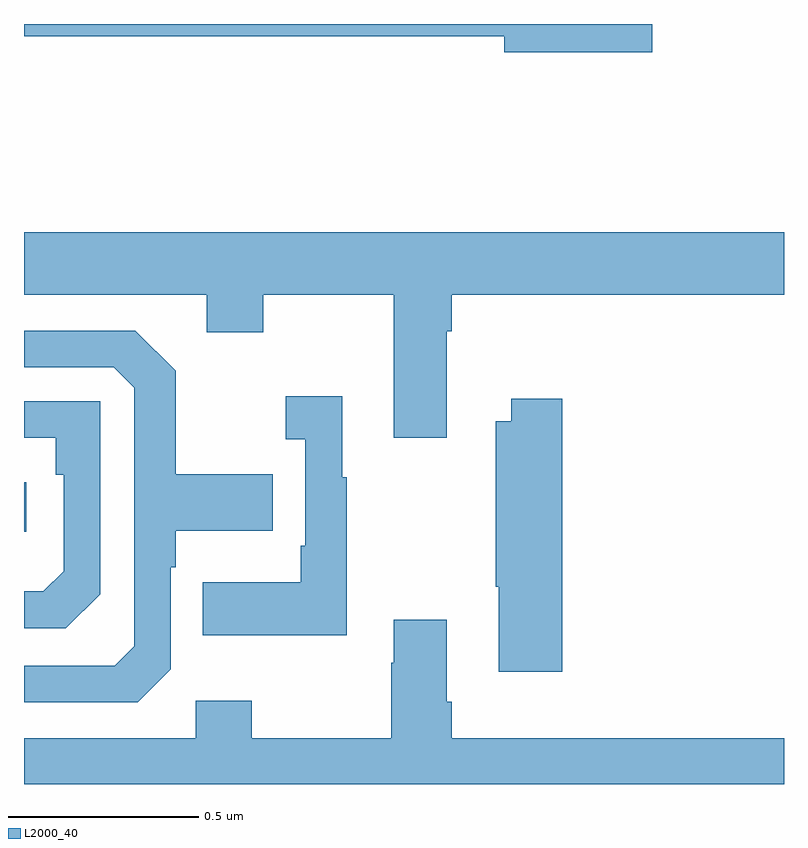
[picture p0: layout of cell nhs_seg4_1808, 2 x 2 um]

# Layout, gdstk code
import gdstk
lib = gdstk.Library(unit=1e-6, precision=1e-09)
def R(c, l, rs):  # rectangles x0, y0, x1, y1
    for r in rs: c.add(gdstk.rectangle(r[:2], r[2:], *l))
def P(c, l, *ps):  # polygons
    for p in ps: c.add(gdstk.Polygon(p, *l))
L2000_40 = (2000, 40)

nhs_seg4_1808 = lib.new_cell('nhs_seg4_1808')
R(nhs_seg4_1808, L2000_40, [(133,761.564,133.006,761.694)])
P(nhs_seg4_1808, L2000_40, [(134.653,762.9),(133,762.9),(133,762.868),(134.264,762.868),(134.264,762.826),(134.653,762.826)],
  [(134.113,762.092),(134.126,762.092),(134.126,762.188),(135,762.188),(135,762.352),(133,762.352),(133,762.188),(133.481,762.188),(133.481,762.089),(133.629,762.089),(133.629,762.188),(133.973,762.188),(133.973,761.811),(134.113,761.811)],
  [(133.386,761.202),(133.386,761.471),(133.399,761.471),(133.399,761.567),(133.655,761.567),(133.655,761.715),(133.399,761.715),(133.399,761.987),(133.293,762.093),(133,762.093),(133,761.997),(133.236,761.997),(133.29,761.943),(133.29,761.262),(133.239,761.211),(133,761.211),(133,761.115),(133.299,761.115)],
  [(133.849,761.707),(133.837,761.707),(133.837,761.92),(133.689,761.92),(133.689,761.807),(133.74,761.807),(133.74,761.527),(133.728,761.527),(133.728,761.431),(133.471,761.431),(133.471,761.291),(133.849,761.291)],
  [(134.417,761.914),(134.282,761.914),(134.282,761.854),(134.242,761.854),(134.242,761.419),(134.249,761.419),(134.249,761.196),(134.417,761.196)],
  [(133.2,761.4),(133.2,761.907),(133,761.907),(133,761.811),(133.084,761.811),(133.084,761.714),(133.104,761.714),(133.104,761.46),(133.051,761.407),(133,761.407),(133,761.31),(133.11,761.31)],
  [(135,761.02),(134.126,761.02),(134.126,761.116),(134.113,761.116),(134.113,761.332),(133.973,761.332),(133.973,761.219),(133.966,761.219),(133.966,761.02),(133.599,761.02),(133.599,761.119),(133.452,761.119),(133.452,761.02),(133,761.02),(133,760.9),(135,760.9)])

lib.write_gds('nhs_seg4_1808.gds')
